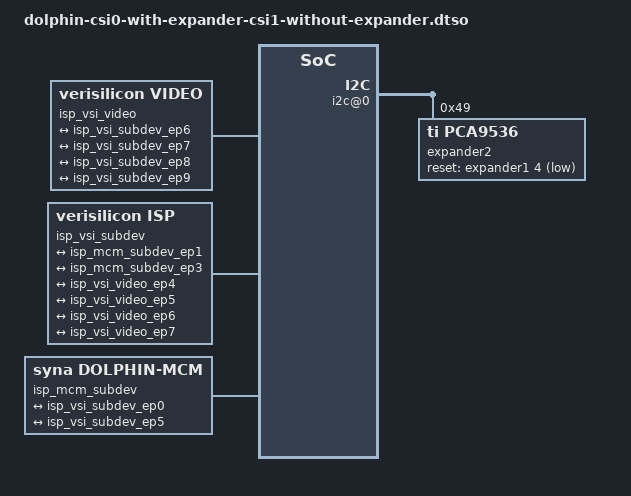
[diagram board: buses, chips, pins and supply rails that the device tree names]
#include <dt-bindings/gpio/gpio.h>

/dts-v1/;
/plugin/;


/ {
	fragment@0 {
		target-path = "/i2cdemux3/i2c@0";
		__overlay__ {
			#address-cells = <1>;
			#size-cells = <0>;
			expander2: gpio@49 {
				compatible = "ti,pca9536";
				reg = <0x49>;
				gpio-controller;
				#gpio-cells = <2>;
				reset-gpios = <&expander1 4 GPIO_ACTIVE_LOW>;
			};
		};
	};

	fragment@1 {
		target-path = "/soc";
		__overlay__ {
			isp_vsi: isp_vsi@f9100000 {
				status = "okay";
				reset-gpios = <&expander2 1 0>, <&expander1 6 0>;
				enable-gpios = <&expander2 0 0>, <&expander1 7 0>;
			};
		};
	};
	fragment@2 {
		target-path = "/soc";
		__overlay__ {
			isp_vsi_video: isp_vsi_video {
				status = "okay";
				compatible = "verisilicon,video";
				ports {
					#address-cells = <1>;
					#size-cells = <0>;
					port@4 {
						reg = <4>;
						#address-cells = <1>;
						#size-cells = <0>;
						isp_vsi_video_ep4: endpoint@4 {
							reg = <4>;
							remote-endpoint = <&isp_vsi_subdev_ep6>;
						};
					};
					port@5 {
						reg = <5>;
						#address-cells = <1>;
						#size-cells = <0>;
						isp_vsi_video_ep5: endpoint@5 {
							reg = <5>;
							remote-endpoint = <&isp_vsi_subdev_ep7>;
						};
					};
					port@6 {
						reg = <6>;
						#address-cells = <1>;
						#size-cells = <0>;
						isp_vsi_video_ep6: endpoint@6 {
							reg = <6>;
							remote-endpoint = <&isp_vsi_subdev_ep8>;
						};
					};
					port@7 {
						reg = <7>;
						#address-cells = <1>;
						#size-cells = <0>;
						isp_vsi_video_ep7: endpoint@7 {
							reg = <7>;
							remote-endpoint = <&isp_vsi_subdev_ep9>;
						};
					};
				};
			};
		};
	};

	fragment@3 {
		target-path = "/soc";
		__overlay__ {
			isp_vsi_subdev: isp_vsi_subdev {
				id = <0>;
				status = "okay";
				compatible = "verisilicon,isp";
				ports {
					#address-cells = <1>;
					#size-cells = <0>;
					port@0 {
						reg = <0>;
						#address-cells = <1>;
						#size-cells = <0>;
						isp_vsi_subdev_ep0: endpoint@0 {
							reg = <0>;
							remote-endpoint = <&isp_mcm_subdev_ep1>;
						};
					};
					port@5 {
						reg = <5>;
						#address-cells = <1>;
						#size-cells = <0>;
						isp_vsi_subdev_ep5: endpoint@5 {
							reg = <5>;
							remote-endpoint = <&isp_mcm_subdev_ep3>;
						};
					};
					port@6 {
						reg = <6>;
						#address-cells = <1>;
						#size-cells = <0>;
						isp_vsi_subdev_ep6: endpoint@6 {
							reg = <6>;
							remote-endpoint = <&isp_vsi_video_ep4>;
						};
					};
					port@7 {
						reg = <7>;
						#address-cells = <1>;
						#size-cells = <0>;
						isp_vsi_subdev_ep7: endpoint@7 {
							reg = <7>;
							remote-endpoint = <&isp_vsi_video_ep5>;
						};
					};
					port@8 {
						reg = <8>;
						#address-cells = <1>;
						#size-cells = <0>;
						isp_vsi_subdev_ep8: endpoint@8 {
							reg = <8>;
							remote-endpoint = <&isp_vsi_video_ep6>;
						};
					};
					port@9 {
						reg = <9>;
						#address-cells = <1>;
						#size-cells = <0>;
						isp_vsi_subdev_ep9: endpoint@9 {
							reg = <9>;
							remote-endpoint = <&isp_vsi_video_ep7>;
						};
					};
				};
			};
		};
	};

	fragment@4 {
		target-path = "/soc";
		__overlay__ {
			isp_mcm_subdev: isp_mcm_subdev{
				id = <0>;
				status = "okay";
				compatible = "syna,dolphin-mcm";
				ports {
					#address-cells = <1>;
					#size-cells = <0>;
					port@1 {
						reg = <1>;
						#address-cells = <1>;
						#size-cells = <0>;
						isp_mcm_subdev_ep1: endpoint@1 {
							reg = <1>;
							remote-endpoint = <&isp_vsi_subdev_ep0>;
						};
					};

					port@3 {
						reg = <3>;
						#address-cells = <1>;
						#size-cells = <0>;
						isp_mcm_subdev_ep3: endpoint@3 {
							reg = <3>;
							remote-endpoint = <&isp_vsi_subdev_ep5>;
						};
					};
				};
			};
		};
	};
};
